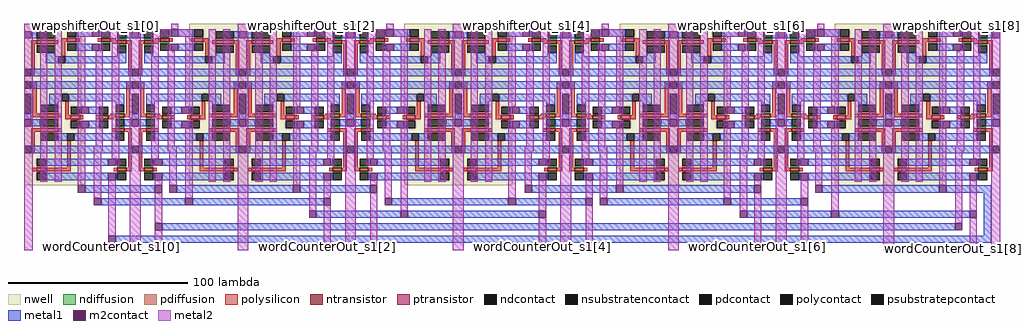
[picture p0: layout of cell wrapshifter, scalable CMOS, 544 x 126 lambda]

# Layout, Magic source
magic
tech scmos
<< metal1 >>
rect 34 -4 73 0
rect 85 -4 150 0
rect 154 -4 193 0
rect 283 -4 330 0
rect 334 -4 407 0
rect 445 -4 510 0
rect 514 -4 539 0
rect 43 -11 90 -7
rect 94 -11 167 -7
rect 205 -11 270 -7
rect 274 -11 313 -7
rect 325 -11 390 -7
rect 394 -11 433 -7
rect 163 -18 210 -14
rect 214 -18 287 -14
rect 403 -18 450 -14
rect 454 -18 527 -14
rect 77 -25 519 -21
rect 535 -28 539 -4
rect 51 -32 539 -28
<< metal2 >>
rect 0 82 5 90
rect 38 87 42 90
rect 59 77 65 90
rect 82 87 86 90
rect 119 80 125 90
rect 158 87 162 90
rect 179 78 185 90
rect 202 87 206 90
rect 239 82 245 90
rect 278 87 282 90
rect 299 82 305 90
rect 322 87 326 90
rect 359 80 365 90
rect 398 87 402 90
rect 419 81 425 90
rect 442 87 446 90
rect 479 82 485 90
rect 518 87 522 90
rect 539 81 544 90
rect 0 -36 5 1
rect 30 0 34 2
rect 39 -7 43 2
rect 47 -28 51 2
rect 47 -36 51 -32
rect 59 -36 65 1
rect 73 0 77 2
rect 81 0 85 2
rect 73 -21 77 -4
rect 90 -7 94 2
rect 73 -36 77 -25
rect 119 -36 125 1
rect 150 0 154 2
rect 159 -14 163 2
rect 167 -7 171 2
rect 167 -36 171 -11
rect 179 -36 185 2
rect 193 0 197 2
rect 193 -36 197 -4
rect 201 -7 205 2
rect 210 -14 214 7
rect 239 -36 245 2
rect 270 -7 274 2
rect 279 0 283 2
rect 287 -14 291 2
rect 287 -36 291 -18
rect 299 -36 305 2
rect 313 -7 317 2
rect 321 -7 325 2
rect 330 0 334 2
rect 313 -36 317 -11
rect 359 -36 365 1
rect 390 -7 394 2
rect 399 -14 403 2
rect 407 0 411 2
rect 407 -36 411 -4
rect 419 -36 425 2
rect 433 -7 437 2
rect 441 0 445 2
rect 433 -36 437 -11
rect 450 -14 454 2
rect 479 -36 485 1
rect 510 0 514 2
rect 519 -21 523 2
rect 527 -14 531 2
rect 527 -36 531 -18
rect 539 -36 544 1
<< m2contact >>
rect 30 -4 34 0
rect 73 -4 77 0
rect 81 -4 85 0
rect 150 -4 154 0
rect 193 -4 197 0
rect 279 -4 283 0
rect 330 -4 334 0
rect 407 -4 411 0
rect 441 -4 445 0
rect 510 -4 514 0
rect 39 -11 43 -7
rect 90 -11 94 -7
rect 167 -11 171 -7
rect 201 -11 205 -7
rect 270 -11 274 -7
rect 313 -11 317 -7
rect 321 -11 325 -7
rect 390 -11 394 -7
rect 433 -11 437 -7
rect 159 -18 163 -14
rect 210 -18 214 -14
rect 287 -18 291 -14
rect 399 -18 403 -14
rect 450 -18 454 -14
rect 527 -18 531 -14
rect 73 -25 77 -21
rect 519 -25 523 -21
rect 47 -32 51 -28
use 3to1mux 3to1mux_0
transform 0 -1 64 1 0 16
box -16 0 74 64
use 3to1mux 3to1mux_1
transform 0 1 60 1 0 16
box -16 0 74 64
use 3to1mux 3to1mux_2
transform 0 -1 184 1 0 16
box -16 0 74 64
use 3to1mux 3to1mux_3
transform 0 1 180 1 0 16
box -16 0 74 64
use 3to1mux 3to1mux_4
transform 0 -1 304 1 0 16
box -16 0 74 64
use 3to1mux 3to1mux_5
transform 0 1 300 1 0 16
box -16 0 74 64
use 3to1mux 3to1mux_6
transform 0 -1 424 1 0 16
box -16 0 74 64
use 3to1mux 3to1mux_7
transform 0 1 420 1 0 16
box -16 0 74 64
use 3to1mux 3to1mux_8
transform 0 -1 544 1 0 16
box -16 0 74 64
<< labels >>
rlabel metal2 49 -34 49 -34 7 wordCounterOut_s1[0]
rlabel metal2 75 -34 75 -34 5 wordCounterOut_s1[1]
rlabel metal2 169 -34 169 -34 5 wordCounterOut_s1[2]
rlabel metal2 195 -34 195 -34 5 wordCounterOut_s1[3]
rlabel metal2 289 -34 289 -34 5 wordCounterOut_s1[4]
rlabel metal2 315 -34 315 -34 5 wordCounterOut_s1[5]
rlabel metal2 409 -34 409 -34 6 wordCounterOut_s1[6]
rlabel metal2 435 -35 435 -35 4 wordCounterOut_s1[7]
rlabel metal2 529 -35 529 -35 6 wordCounterOut_s1[8]
rlabel metal2 40 89 40 89 1 wrapshifterOut_s1[0]
rlabel metal2 84 89 84 89 1 wrapshifterOut_s1[1]
rlabel metal2 160 89 160 89 1 wrapshifterOut_s1[2]
rlabel metal2 204 89 204 89 1 wrapshifterOut_s1[3]
rlabel metal2 280 89 280 89 1 wrapshifterOut_s1[4]
rlabel metal2 324 89 324 89 1 wrapshifterOut_s1[5]
rlabel metal2 400 89 400 89 1 wrapshifterOut_s1[6]
rlabel metal2 444 89 444 89 1 wrapshifterOut_s1[7]
rlabel metal2 520 89 520 89 1 wrapshifterOut_s1[8]
<< end >>

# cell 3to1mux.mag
magic
tech scmos
<< nwell >>
rect -16 32 74 64
<< polysilicon >>
rect -8 57 -6 59
rect 2 58 16 60
rect 38 59 42 60
rect 14 55 16 58
rect 22 57 42 59
rect 45 58 65 60
rect 63 57 65 58
rect 22 55 24 57
rect -8 40 -6 52
rect 63 45 65 47
rect 14 43 16 45
rect 22 43 24 45
rect -8 38 9 40
rect 21 39 31 41
rect 56 41 66 43
rect 64 40 66 41
rect 21 38 23 39
rect 64 33 66 35
rect 21 31 23 33
rect 21 22 23 24
rect 64 21 66 23
rect 21 16 23 17
rect -8 12 -6 14
rect 14 13 16 15
rect 21 14 24 16
rect 64 15 66 16
rect 22 13 24 14
rect 63 13 66 15
rect 63 12 65 13
rect -8 6 -6 7
rect 14 6 16 8
rect -8 4 16 6
rect 22 7 24 8
rect 22 5 42 7
rect 63 6 65 7
rect 38 4 42 5
rect 45 4 65 6
<< ndiffusion >>
rect 20 17 21 22
rect 23 17 24 22
rect 63 16 64 21
rect 66 16 67 21
rect -9 7 -8 12
rect -6 7 -5 12
rect 13 8 14 13
rect 16 8 17 13
rect 21 8 22 13
rect 24 8 25 13
rect 62 7 63 12
rect 65 7 66 12
<< pdiffusion >>
rect -9 52 -8 57
rect -6 52 -5 57
rect 13 45 14 55
rect 16 45 17 55
rect 21 45 22 55
rect 24 45 25 55
rect 62 47 63 57
rect 65 47 66 57
rect 20 33 21 38
rect 23 33 24 38
rect 63 35 64 40
rect 66 35 67 40
<< metal1 >>
rect -13 17 -9 52
rect -13 12 -9 13
rect -5 17 -1 52
rect -5 12 -1 13
rect 2 4 6 60
rect 21 60 24 64
rect 17 55 21 60
rect 29 45 35 50
rect 9 40 13 45
rect 31 43 35 45
rect 9 13 13 36
rect 16 32 20 33
rect 16 22 20 28
rect 24 32 28 33
rect 24 22 28 28
rect 31 13 35 39
rect 29 8 35 13
rect 17 4 21 8
rect 38 4 42 60
rect 21 0 24 4
rect 45 4 49 60
rect 66 57 70 60
rect 52 47 58 52
rect 52 45 56 47
rect 52 12 56 41
rect 59 26 63 35
rect 59 21 63 22
rect 67 26 71 35
rect 67 21 71 22
rect 52 7 58 12
rect 66 4 70 7
<< metal2 >>
rect -15 60 17 64
rect 21 60 66 64
rect 70 60 73 64
rect -15 59 73 60
rect -14 51 71 55
rect -14 43 71 47
rect -14 32 20 34
rect -14 30 16 32
rect 24 32 71 34
rect 28 30 71 32
rect 67 26 71 30
rect -14 24 6 25
rect -14 22 59 24
rect -14 21 63 22
rect 3 20 63 21
rect 71 22 72 26
rect -14 13 -13 17
rect 67 15 71 22
rect -1 13 71 15
rect -5 11 71 13
rect -15 4 73 5
rect -15 0 17 4
rect 21 0 66 4
rect 70 0 73 4
<< ntransistor >>
rect 21 17 23 22
rect 64 16 66 21
rect -8 7 -6 12
rect 14 8 16 13
rect 22 8 24 13
rect 63 7 65 12
<< ptransistor >>
rect -8 52 -6 57
rect 14 45 16 55
rect 22 45 24 55
rect 63 47 65 57
rect 21 33 23 38
rect 64 35 66 40
<< polycontact >>
rect 2 60 6 64
rect 38 60 42 64
rect 45 60 49 64
rect 9 36 13 40
rect 31 39 35 43
rect 52 41 56 45
rect 2 0 6 4
rect 38 0 42 4
rect 45 0 49 4
<< ndcontact >>
rect 16 17 20 22
rect 24 17 28 22
rect 59 16 63 21
rect 67 16 71 21
rect -13 7 -9 12
rect -5 7 -1 12
rect 9 8 13 13
rect 17 8 21 13
rect 25 8 29 13
rect 58 7 62 12
rect 66 7 70 12
<< pdcontact >>
rect -13 52 -9 57
rect -5 52 -1 57
rect 9 45 13 55
rect 17 45 21 55
rect 25 45 29 55
rect 58 47 62 57
rect 66 47 70 57
rect 16 33 20 38
rect 24 33 28 38
rect 59 35 63 40
rect 67 35 71 40
<< m2contact >>
rect -13 13 -9 17
rect -5 13 -1 17
rect 17 60 21 64
rect 16 28 20 32
rect 24 28 28 32
rect 17 0 21 4
rect 66 60 70 64
rect 59 22 63 26
rect 67 22 71 26
rect 66 0 70 4
<< psubstratepcontact >>
rect 24 0 35 4
<< nsubstratencontact >>
rect 24 60 35 64
<< labels >>
rlabel metal2 -9 62 -9 62 5 Vdd
rlabel metal2 -9 2 -9 2 1 Gnd
rlabel metal2 -13 53 -13 53 7 Ex1
rlabel metal2 -13 45 -13 45 7 Ex2
rlabel metal2 -13 32 -13 32 7 In1
rlabel metal2 -13 23 -13 23 7 In2
rlabel metal2 -13 15 -13 15 7 In0
rlabel metal2 71 24 71 24 3 Out
rlabel polycontact 4 2 4 2 5 cntrl0
rlabel polycontact 40 2 40 2 5 cntrl1
rlabel polycontact 47 2 47 2 5 cntrl2
<< end >>
